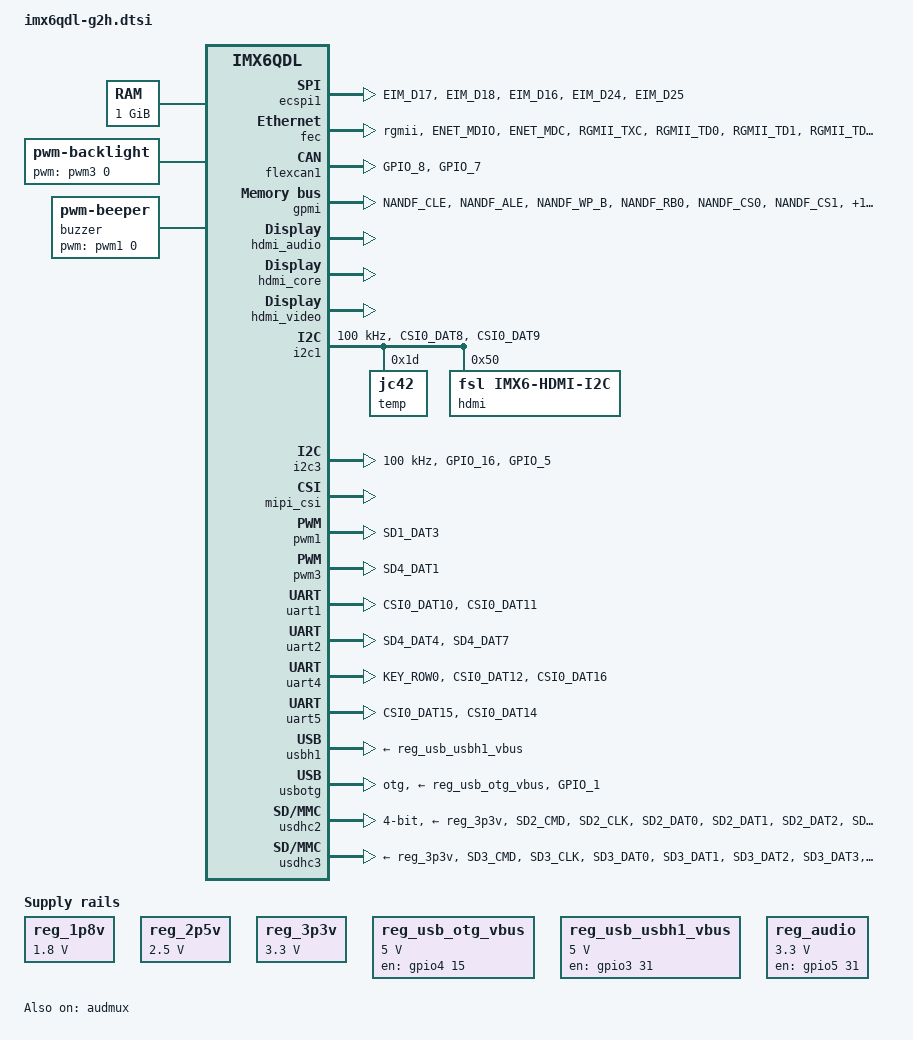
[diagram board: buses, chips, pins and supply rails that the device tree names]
/*
 * Copyright 2014 John Weber, Avnet Electronics Marketing
 * Copyright 2013 Boundary Devices
 * Copyright 2012 Freescale Semiconductor, Inc.
 * Copyright 2011 Linaro Ltd.
 *
 * The code contained herein is licensed under the GNU General Public
 * License. You may obtain a copy of the GNU General Public License
 * Version 2 or later at the following locations:
 *
 * http://www.opensource.org/licenses/gpl-license.html
 * http://www.gnu.org/copyleft/gpl.html
 */

/ {
	aliases {
		mxcfb0 = &mxcfb1;
		mxcfb1 = &mxcfb2;
		mxcfb2 = &mxcfb3;
		mxcfb3 = &mxcfb4;
	};

	memory {
		reg = <0x10000000 0x40000000>;
	};

	regulators {
		compatible = "simple-bus";

		reg_1p8v: 1p8v {
			compatible = "regulator-fixed";
			regulator-name = "1P8V";
			regulator-min-microvolt = <1800000>;
			regulator-max-microvolt = <1800000>;
			regulator-always-on;
		};

		reg_2p5v: 2p5v {
			compatible = "regulator-fixed";
			regulator-name = "2P5V";
			regulator-min-microvolt = <2500000>;
			regulator-max-microvolt = <2500000>;
			regulator-always-on;
		};

		reg_3p3v: 3p3v {
			compatible = "regulator-fixed";
			regulator-name = "3P3V";
			regulator-min-microvolt = <3300000>;
			regulator-max-microvolt = <3300000>;
			regulator-always-on;
		};

		reg_usb_otg_vbus: usb_otg_vbus {
			compatible = "regulator-fixed";
			regulator-name = "usb_otg_vbus";
			regulator-min-microvolt = <5000000>;
			regulator-max-microvolt = <5000000>;
			gpio = <&gpio4 15 0>;
			enable-active-high;
		};

		reg_usb_usbh1_vbus: usb_usbh1_vbus {
			compatible = "regulator-fixed";
			regulator-name = "usb_otg_vbus";
			regulator-min-microvolt = <5000000>;
			regulator-max-microvolt = <5000000>;
			gpio = <&gpio3 31 0>;
			enable-active-high;
		};

		reg_audio: audio {
			compatible = "regulator-fixed";
			regulator-name = "usb_otg_vbus";
			regulator-min-microvolt = <3300000>;
			regulator-max-microvolt = <3300000>;
			gpio = <&gpio5 31 0>;
			enable-active-high;
		};
	};

	sound {
		compatible = "fsl,imx6-g2h-sgtl5000",
                             "fsl,imx-audio-sgtl5000";
		model = "imx6-g2h-sgtl5000";
		cpu-dai = <&ssi1>;
		audio-codec = <&codec>;
		audio-routing =
			"MIC_IN", "Mic Jack",
			"Mic Jack", "Mic Bias",
			"Headphone Jack", "HP_OUT";
		mux-int-port = <1>;
		mux-ext-port = <3>;
		audio-stdby-gpio = <&gpio5 31 0>;
		headphone-det-gpio = <&gpio4 11 0>;
		status = "disabled";
	};

    sound-spdif {
		compatible = "fsl,imx-audio-spdif";
		model = "imx-spdif";
		spdif-controller = <&spdif>;
		spdif-out;
		status = "disabled";
    };

	sound-hdmi {
		compatible = "fsl,imx6q-audio-hdmi",
			     "fsl,imx-audio-hdmi";
		model = "imx-audio-hdmi";
		hdmi-controller = <&hdmi_audio>;
		status = "okay";
	};

	mxcfb1: fb@0 {
		compatible = "fsl,mxc_sdc_fb";
		disp_dev = "lcd";
		interface_pix_fmt = "RGB666";
		mode_str ="WVGA-GH2";
		default_bpp = <32>;
		int_clk = <0>;
		late_init = <0>;
		status = "disabled";
	};

	mxcfb2: fb@1 {
		compatible = "fsl,mxc_sdc_fb";
		disp_dev = "hdmi";
		interface_pix_fmt = "RGB24";
		mode_str ="1920x1080M@60";
		default_bpp = <32>;
		int_clk = <0>;
		late_init = <0>;
		status = "disabled";
	};

	mxcfb3: fb@2 {
		compatible = "fsl,mxc_sdc_fb";
        disp_dev = "ldb";
        interface_pix_fmt = "RGB24";
        default_bpp = <32>;
        int_clk = <0>;
        late_init = <0>;
        status = "disabled";
    };

	mxcfb4: fb@3 {
		compatible = "fsl,mxc_sdc_fb";
		disp_dev = "ldb";
		interface_pix_fmt = "RGB666";
		mode_str ="LDB-XGA";
		default_bpp = <16>;
		int_clk = <0>;
		late_init = <0>;
		status = "disabled";
	};

	lcd@0 {
		compatible = "fsl,lcd";
		ipu_id = <0>;
		disp_id = <0>;
		default_ifmt = "RGB565";
		pinctrl-names = "default";
		pinctrl-0 = <&pinctrl_ipu1>;
		status = "disabled";
		lcd-enable-gpio = <&gpio2 11 0>;
		backlight-enable-gpio = <&gpio2 8 0>;
	};

	backlight {
		compatible = "pwm-backlight";
		pwms = <&pwm3 0 5000000>;
		brightness-levels = <0 4 8 16 32 64 128 255>;
		default-brightness-level = <7>;
	};

	buzzer {
		compatible = "pwm-beeper";
		pwms = <&pwm1 0 5000000>;
	};

	dipswitch: dipswitch@0 {
		compatible = "reach,dipswitch";
		pinctrl-names = "default";
		pinctrl-0 = <&pinctrl_dip_g2h>;
		dip-pin-1 = <&gpio1 20 1>;
		dip-pin-2 = <&gpio1 17 1>;
		dip-pin-3 = <&gpio1 19 1>;
		dip-pin-4 = <&gpio1 21 1>;
		status = "disabled";
	};

	v4l2_cap_0 {
		compatible = "fsl,imx6q-v4l2-capture";
		ipu_id = <0>;
		csi_id = <0>;
		mclk_source = <0>;
		status = "okay";
	};

	v4l2_out {
		compatible = "fsl,mxc_v4l2_output";
		status = "okay";
	};

};

&audmux {
	pinctrl-names = "default";
	pinctrl-0 = <&pinctrl_audmux>;
	status = "okay";
};

&ecspi1 {
	fsl,spi-num-chipselects = <4>;
	cs-gpios = <0>, <0>, <&gpio3 24 0>, <&gpio3 25 0>;
	pinctrl-names = "default";
	pinctrl-0 = <&pinctrl_ecspi1>;
	status = "okay";

	spiflash: nor@2 {
		#address-cells = <1>;
		#size-cells = <1>;
		compatible = "n25q128a13";
		spi-max-frequency = <10000000>;
		reg = <2>;
        status = "disabled";

		mtd0@00000000 {
			label = "boot";
			reg = <0x00000000 0x00100000>;
		};

		mtd1@00100000 {
			label = "bootenv";
			reg = <0x00100000 0x00080000>;
		};
	};

	tsc2046: touch@3 {
		compatible = "ti,tsc2046";
		reg = <3>;
		spi-max-frequency = <1000000>;
		interrupt-parent = <&gpio7>;
		interrupts = <13 0>;
		pendown-gpio = <&gpio7 13 0>;
		vcc-supply = <&reg_3p3v>;
        /* see individual board dts for tuning parameters */
		status = "disabled";
	};
};

&fec {
	pinctrl-names = "default";
	pinctrl-0 = <&pinctrl_enet>;
	phy-mode = "rgmii";
	status = "okay";
};

&flexcan1 {
	pinctrl-names = "default";
	pinctrl-0 = <&pinctrl_flexcan>;
	status = "okay";
};

&gpmi {
	pinctrl-names = "default";
	pinctrl-0 = <&pinctrl_gpmi_nand>;
	status = "ok";

	partition@0 {
		label = "dtb";
		reg = <0x0000000 0x0080000>;
	};
	partition@1 {
		label = "kernel";
		reg = <0x0080000 0x0A00000>;
	};
	partition@2 {
		label = "rootfs";
		reg = < 0x0A80000 0x1F400000>;
	};
};

&hdmi_audio {
	status = "okay";
};

&hdmi_core {
	ipu_id = <0>;
	disp_id = <1>;
	status = "okay";
};

&hdmi_video {
	fsl,phy_reg_vlev = <0x0294>;
	fsl,phy_reg_cksymtx = <0x800d>;
	status = "okay";
};

&i2c1 {
	clock-frequency = <100000>;
	pinctrl-names = "default";
	pinctrl-0 = <&pinctrl_i2c1>;
	status = "okay";

	temp@1d {
		compatible = "jc42";
		reg = <0x1D>;
		status = "okay";
	};

	evervision: touch@38 {
		compatible = "evervision";
		reg = <0x38>;
		interrupt-parent = <&gpio4>;
		interrupts = <5 0>;
		status = "disabled";
	};

	codec: sgtl5000@0a {
		compatible = "fsl,sgtl5000";
		reg = <0x0a>;
		status = "disabled";
		clocks = <&clks 201>;
		VDDA-supply = <&reg_2p5v>;
		VDDIO-supply = <&reg_audio>;
	};

	hdmi: edid@50 {
		compatible = "fsl,imx6-hdmi-i2c";
		reg = <0x50>;
	};
};

&i2c3 {
	clock-frequency = <100000>;
	pinctrl-names = "default";
	pinctrl-0 = <&pinctrl_i2c3>;
	status = "okay";
};

&iomuxc {

	pinctrl-names = "default";
	pinctrl-0 = <&pinctrl_hog_1>;

	audmux {
		pinctrl_audmux: audmux {
			fsl,pins = <
				MX6QDL_PAD_CSI0_DAT7__AUD3_RXD  0x130b0
				MX6QDL_PAD_CSI0_DAT4__AUD3_TXC  0x130b0
				MX6QDL_PAD_CSI0_DAT5__AUD3_TXD  0x110b0
				MX6QDL_PAD_CSI0_DAT6__AUD3_TXFS 0x130b0
			>;
		};
	};

	ecspi1 {
		pinctrl_ecspi1: ecspi1grp {
			fsl,pins = <
				MX6QDL_PAD_EIM_D17__ECSPI1_MISO 0x100b1
				MX6QDL_PAD_EIM_D18__ECSPI1_MOSI 0x100b1
				MX6QDL_PAD_EIM_D16__ECSPI1_SCLK 0x100b1
				MX6QDL_PAD_EIM_D24__GPIO3_IO24 0x80000000
				MX6QDL_PAD_EIM_D25__GPIO3_IO25 0x80000000
			>;
		};
	};

	enet {
		pinctrl_enet: enetgrp {
			fsl,pins = <
				MX6QDL_PAD_ENET_MDIO__ENET_MDIO       0x1b0b0
				MX6QDL_PAD_ENET_MDC__ENET_MDC         0x1b0b0
				MX6QDL_PAD_RGMII_TXC__RGMII_TXC       0x1b0b0
				MX6QDL_PAD_RGMII_TD0__RGMII_TD0       0x1b0b0
				MX6QDL_PAD_RGMII_TD1__RGMII_TD1       0x1b0b0
				MX6QDL_PAD_RGMII_TD2__RGMII_TD2       0x1b0b0
				MX6QDL_PAD_RGMII_TD3__RGMII_TD3       0x1b0b0
				MX6QDL_PAD_RGMII_TX_CTL__RGMII_TX_CTL 0x1b0b0
				MX6QDL_PAD_ENET_REF_CLK__ENET_TX_CLK  0x1b0b0
				MX6QDL_PAD_RGMII_RXC__RGMII_RXC       0x1b0b0
				MX6QDL_PAD_RGMII_RD0__RGMII_RD0       0x1b0b0
				MX6QDL_PAD_RGMII_RD1__RGMII_RD1       0x1b0b0
				MX6QDL_PAD_RGMII_RD2__RGMII_RD2       0x1b0b0
				MX6QDL_PAD_RGMII_RD3__RGMII_RD3       0x1b0b0
				MX6QDL_PAD_RGMII_RX_CTL__RGMII_RX_CTL 0x1b0b0
				MX6QDL_PAD_ENET_TX_EN__ENET_TX_EN     0x1b0b0
			>;
		};
	};

	flexcan1 {
		pinctrl_flexcan: flexcangrp {
			fsl,pins = <
				MX6QDL_PAD_GPIO_8__FLEXCAN1_RX 0x80000000
				MX6QDL_PAD_GPIO_7__FLEXCAN1_TX 0x80000000
			>;
		};
	};

	gpmi-nand {
		pinctrl_gpmi_nand: gpmi-nand {
			fsl,pins = <
				MX6QDL_PAD_NANDF_CLE__NAND_CLE     0xb0b1
				MX6QDL_PAD_NANDF_ALE__NAND_ALE     0xb0b1
				MX6QDL_PAD_NANDF_WP_B__NAND_WP_B   0xb0b1
				MX6QDL_PAD_NANDF_RB0__NAND_READY_B 0xb000
				MX6QDL_PAD_NANDF_CS0__NAND_CE0_B   0xb0b1
				MX6QDL_PAD_NANDF_CS1__NAND_CE1_B   0xb0b1
				MX6QDL_PAD_SD4_CMD__NAND_RE_B      0xb0b1
				MX6QDL_PAD_SD4_CLK__NAND_WE_B      0xb0b1
				MX6QDL_PAD_NANDF_D0__NAND_DATA00   0xb0b1
				MX6QDL_PAD_NANDF_D1__NAND_DATA01   0xb0b1
				MX6QDL_PAD_NANDF_D2__NAND_DATA02   0xb0b1
				MX6QDL_PAD_NANDF_D3__NAND_DATA03   0xb0b1
				MX6QDL_PAD_NANDF_D4__NAND_DATA04   0xb0b1
				MX6QDL_PAD_NANDF_D5__NAND_DATA05   0xb0b1
				MX6QDL_PAD_NANDF_D6__NAND_DATA06   0xb0b1
				MX6QDL_PAD_NANDF_D7__NAND_DATA07   0xb0b1
			>;
		};
	};

	i2c1 {
		pinctrl_i2c1: i2c1grp {
			fsl,pins = <
				MX6QDL_PAD_CSI0_DAT8__I2C1_SDA 0x4001b8b1
				MX6QDL_PAD_CSI0_DAT9__I2C1_SCL 0x4001b8b1
			>;
		};
	};

	i2c3 {
		pinctrl_i2c3: i2c3grp {
			fsl,pins = <
				MX6QDL_PAD_GPIO_16__I2C3_SDA  0x4001b8b1
				MX6QDL_PAD_GPIO_5__I2C3_SCL   0x4001b8b1
			>;
		};
	};

	ipu1 {
		pinctrl_ipu1: ipu1grp {
			fsl,pins = <
				MX6QDL_PAD_DI0_DISP_CLK__IPU1_DI0_DISP_CLK 0x10
				MX6QDL_PAD_DI0_PIN15__IPU1_DI0_PIN15       0x10
				MX6QDL_PAD_DI0_PIN2__IPU1_DI0_PIN02        0x10
				MX6QDL_PAD_DI0_PIN3__IPU1_DI0_PIN03        0x10
				MX6QDL_PAD_DISP0_DAT0__IPU1_DISP0_DATA00   0x10
				MX6QDL_PAD_DISP0_DAT1__IPU1_DISP0_DATA01   0x10
				MX6QDL_PAD_DISP0_DAT2__IPU1_DISP0_DATA02   0x10
				MX6QDL_PAD_DISP0_DAT3__IPU1_DISP0_DATA03   0x10
				MX6QDL_PAD_DISP0_DAT4__IPU1_DISP0_DATA04   0x10
				MX6QDL_PAD_DISP0_DAT5__IPU1_DISP0_DATA05   0x10
				MX6QDL_PAD_DISP0_DAT6__IPU1_DISP0_DATA06   0x10
				MX6QDL_PAD_DISP0_DAT7__IPU1_DISP0_DATA07   0x10
				MX6QDL_PAD_DISP0_DAT8__IPU1_DISP0_DATA08   0x10
				MX6QDL_PAD_DISP0_DAT9__IPU1_DISP0_DATA09   0x10
				MX6QDL_PAD_DISP0_DAT10__IPU1_DISP0_DATA10  0x10
				MX6QDL_PAD_DISP0_DAT11__IPU1_DISP0_DATA11  0x10
				MX6QDL_PAD_DISP0_DAT12__IPU1_DISP0_DATA12  0x10
				MX6QDL_PAD_DISP0_DAT13__IPU1_DISP0_DATA13  0x10
				MX6QDL_PAD_DISP0_DAT14__IPU1_DISP0_DATA14  0x10
				MX6QDL_PAD_DISP0_DAT15__IPU1_DISP0_DATA15  0x10
				MX6QDL_PAD_DISP0_DAT16__IPU1_DISP0_DATA16  0x10
				MX6QDL_PAD_DISP0_DAT17__IPU1_DISP0_DATA17  0x10
			>;
	    };
	};

	pwm1 {
		pinctrl_pwm1: pwm1grp {
			fsl,pins = <
				MX6QDL_PAD_SD1_DAT3__PWM1_OUT 0x1b0b1
			>;
		};
	};

	pwm3 {
		pinctrl_pwm3: pwm3grp {
			fsl,pins = <
				MX6QDL_PAD_SD4_DAT1__PWM3_OUT 0x1b0b1
			>;
		};
	};

	uart1 {
		pinctrl_uart1_1: uart1grp-1 {
			fsl,pins = <
				MX6QDL_PAD_CSI0_DAT10__UART1_TX_DATA 0x1b0b1
				MX6QDL_PAD_CSI0_DAT11__UART1_RX_DATA 0x1b0b1
			>;
		};
	};

	uart2 {
		pinctrl_uart2_1: uart2grp-1 {
			fsl,pins = <
				MX6QDL_PAD_EIM_D26__UART2_TX_DATA 0x1b0b1
				MX6QDL_PAD_EIM_D27__UART2_RX_DATA 0x1b0b1
			>;
		};

		pinctrl_uart2_2: uart2grp-2 { /* DTE mode */
			fsl,pins = <
				MX6QDL_PAD_EIM_D26__UART2_RX_DATA   0x1b0b1
				MX6QDL_PAD_EIM_D27__UART2_TX_DATA   0x1b0b1
				MX6QDL_PAD_EIM_D28__UART2_DTE_CTS_B 0x1b0b1
				MX6QDL_PAD_EIM_D29__UART2_DTE_RTS_B 0x1b0b1
			>;
		};

		pinctrl_uart2_3: uart2grp-3 {
			fsl,pins = <
				MX6QDL_PAD_SD4_DAT4__UART2_RX_DATA   0x1b0b1
				MX6QDL_PAD_SD4_DAT7__UART2_TX_DATA   0x1b0b1
			>;
		};

	};

	uart4 {
		pinctrl_uart4: uart4grp {
			fsl,pins = <
				MX6QDL_PAD_KEY_ROW0__UART4_RX_DATA   0x1b0b1
				MX6QDL_PAD_CSI0_DAT12__UART4_TX_DATA 0x1b0b1
				MX6QDL_PAD_CSI0_DAT16__UART4_RTS_B   0x1b0b1
			>;
		};
	};

	uart5 {
		pinctrl_uart5_1: uart5grp-1 {
			fsl,pins = <
				MX6QDL_PAD_CSI0_DAT15__UART5_RX_DATA 0x1b0b1
				MX6QDL_PAD_CSI0_DAT14__UART5_TX_DATA 0x1b0b1
			>;
		};

		pinctrl_uart5dte_1: uart5dtegrp-1 {
			fsl,pins = <
				MX6QDL_PAD_KEY_ROW1__UART5_TX_DATA 0x1b0b1
				MX6QDL_PAD_KEY_COL1__UART5_RX_DATA 0x1b0b1
				MX6QDL_PAD_KEY_ROW4__UART5_RTS_B   0x1b0b1
				MX6QDL_PAD_KEY_COL4__UART5_CTS_B   0x1b0b1
			>;
		};
	};

	usbotg {
		pinctrl_usbotg_1: usbotggrp-1 {
			fsl,pins = <
				MX6QDL_PAD_GPIO_1__USB_OTG_ID 0x17059
			>;
		};

		pinctrl_usbotg_2: usbotggrp-2 {
			fsl,pins = <
				MX6QDL_PAD_ENET_RX_ER__USB_OTG_ID 0x17059
			>;
		};
	};

	usdhc2 {
		pinctrl_usdhc2_1: usdhc2grp-1 {
			fsl,pins = <
				MX6QDL_PAD_SD2_CMD__SD2_CMD    0x17059
				MX6QDL_PAD_SD2_CLK__SD2_CLK    0x10059
				MX6QDL_PAD_SD2_DAT0__SD2_DATA0 0x17059
				MX6QDL_PAD_SD2_DAT1__SD2_DATA1 0x17059
				MX6QDL_PAD_SD2_DAT2__SD2_DATA2 0x17059
				MX6QDL_PAD_SD2_DAT3__SD2_DATA3 0x17059
				MX6QDL_PAD_NANDF_D4__SD2_DATA4 0x17059
				MX6QDL_PAD_NANDF_D5__SD2_DATA5 0x17059
				MX6QDL_PAD_NANDF_D6__SD2_DATA6 0x17059
				MX6QDL_PAD_NANDF_D7__SD2_DATA7 0x17059
			>;
		};

		pinctrl_usdhc2_2: usdhc2grp-2 {
			fsl,pins = <
				MX6QDL_PAD_SD2_CMD__SD2_CMD    0x17059
				MX6QDL_PAD_SD2_CLK__SD2_CLK    0x10059
				MX6QDL_PAD_SD2_DAT0__SD2_DATA0 0x17059
				MX6QDL_PAD_SD2_DAT1__SD2_DATA1 0x17059
				MX6QDL_PAD_SD2_DAT2__SD2_DATA2 0x17059
				MX6QDL_PAD_SD2_DAT3__SD2_DATA3 0x17059
			>;
		};
	};

	usdhc3 {
		pinctrl_usdhc3_1: usdhc3grp-1 {
			fsl,pins = <
				MX6QDL_PAD_SD3_CMD__SD3_CMD    0x17059
				MX6QDL_PAD_SD3_CLK__SD3_CLK    0x10059
				MX6QDL_PAD_SD3_DAT0__SD3_DATA0 0x17059
				MX6QDL_PAD_SD3_DAT1__SD3_DATA1 0x17059
				MX6QDL_PAD_SD3_DAT2__SD3_DATA2 0x17059
				MX6QDL_PAD_SD3_DAT3__SD3_DATA3 0x17059
				MX6QDL_PAD_SD3_DAT4__SD3_DATA4 0x17059
				MX6QDL_PAD_SD3_DAT5__SD3_DATA5 0x17059
				MX6QDL_PAD_SD3_DAT6__SD3_DATA6 0x17059
				MX6QDL_PAD_SD3_DAT7__SD3_DATA7 0x17059
			>;
		};

		pinctrl_usdhc3_1_100mhz: usdhc3grp-1-100mhz { /* 100Mhz */
			fsl,pins = <
				MX6QDL_PAD_SD3_CMD__SD3_CMD 0x170B9
				MX6QDL_PAD_SD3_CLK__SD3_CLK 0x100B9
				MX6QDL_PAD_SD3_DAT0__SD3_DATA0 0x170B9
				MX6QDL_PAD_SD3_DAT1__SD3_DATA1 0x170B9
				MX6QDL_PAD_SD3_DAT2__SD3_DATA2 0x170B9
				MX6QDL_PAD_SD3_DAT3__SD3_DATA3 0x170B9
				MX6QDL_PAD_SD3_DAT4__SD3_DATA4 0x170B9
				MX6QDL_PAD_SD3_DAT5__SD3_DATA5 0x170B9
				MX6QDL_PAD_SD3_DAT6__SD3_DATA6 0x170B9
				MX6QDL_PAD_SD3_DAT7__SD3_DATA7 0x170B9
			>;
		};

		pinctrl_usdhc3_1_200mhz: usdhc3grp-1-200mhz { /* 200Mhz */
			fsl,pins = <
				MX6QDL_PAD_SD3_CMD__SD3_CMD 0x170F9
				MX6QDL_PAD_SD3_CLK__SD3_CLK 0x100F9
				MX6QDL_PAD_SD3_DAT0__SD3_DATA0 0x170F9
				MX6QDL_PAD_SD3_DAT1__SD3_DATA1 0x170F9
				MX6QDL_PAD_SD3_DAT2__SD3_DATA2 0x170F9
				MX6QDL_PAD_SD3_DAT3__SD3_DATA3 0x170F9
				MX6QDL_PAD_SD3_DAT4__SD3_DATA4 0x170F9
				MX6QDL_PAD_SD3_DAT5__SD3_DATA5 0x170F9
				MX6QDL_PAD_SD3_DAT6__SD3_DATA6 0x170F9
				MX6QDL_PAD_SD3_DAT7__SD3_DATA7 0x170F9
			>;
		};

		pinctrl_usdhc3_2: usdhc3grp-2 {
			fsl,pins = <
				MX6QDL_PAD_SD3_CMD__SD3_CMD    0x17059
				MX6QDL_PAD_SD3_CLK__SD3_CLK    0x10059
				MX6QDL_PAD_SD3_DAT0__SD3_DATA0 0x17059
				MX6QDL_PAD_SD3_DAT1__SD3_DATA1 0x17059
				MX6QDL_PAD_SD3_DAT2__SD3_DATA2 0x17059
				MX6QDL_PAD_SD3_DAT3__SD3_DATA3 0x17059
			>;
		};
	};

	imx6qdl-g2h {
		pinctrl_hog_1: hoggrp-1 {
			fsl,pins = <
				MX6QDL_PAD_GPIO_0__CCM_CLKO1		0x000b0
				MX6QDL_PAD_EIM_D22__USB_OTG_PWR		0x80000000	/* USB Power Enable */
				MX6QDL_PAD_GPIO_2__GPIO1_IO02       0x80000000	/* uSDHC3 CD */
				MX6QDL_PAD_GPIO_4__GPIO1_IO04       0x80000000	/* uSDHC2 CD */
			>;
		};

	pinctrl_spdif: spdifgrp {
			fsl,pins = <
				MX6QDL_PAD_ENET_RXD0__SPDIF_OUT                 0x1b0b0
			>;
	    };

	pinctrl_dip_g2h: dipgrp {
			fsl,pins = <
				MX6QDL_PAD_SD1_CLK__GPIO1_IO20    0x80000000    /* SW_OPT1 */
				MX6QDL_PAD_SD1_DAT1__GPIO1_IO17   0x80000000    /* SW_OPT2 */
				MX6QDL_PAD_SD1_DAT2__GPIO1_IO19   0x80000000    /* SW_OPT3 */
				MX6QDL_PAD_SD1_DAT3__GPIO1_IO21   0x80000000    /* SW_OPT4 */
			>;
		};
	};

	gpio {
		pinctrl_gpio: gpiogrp {
			fsl,pins = <
				MX6QDL_PAD_GPIO_19__GPIO4_IO05    0x80000000	/* PCAP Int */
				MX6QDL_PAD_SD3_RST__GPIO7_IO08    0x80000000	/* PCAP Reset */
				MX6QDL_PAD_EIM_D31__GPIO3_IO31	  0x80000000	/* USB Power Enable */
				MX6QDL_PAD_KEY_ROW4__GPIO4_IO15   0x80000000	/* OTG Power Enable */
				MX6QDL_PAD_GPIO_18__GPIO7_IO13    0x06000		/* PEN IRQ TSC2056 */
				MX6QDL_PAD_GPIO_19__GPIO4_IO05    0x80000000	/* PEN IRQ Evervision */
				MX6QDL_PAD_CSI0_DAT13__GPIO5_IO31 0x80000000    /* Audio Standby */
				MX6QDL_PAD_KEY_ROW2__GPIO4_IO11   0x80000000    /* Headphone detect */
				MX6QDL_PAD_SD4_DAT0__GPIO2_IO08   0x130B0		/* LVDS0_EN */
				MX6QDL_PAD_SD4_DAT3__GPIO2_IO11   0x130B0		/* LCD PWR_EN */
			>;
		};
	};
};

&ldb {
	lvds_en_gpio = <&gpio2 11 0>;
	disp_en_gpio = <&gpio2 8 0>;
	status = "disabled";
	lvds_channel0: lvds-channel@0 {
		crtc = "ipu1-di0";
		fsl,data-mapping = "jeida";
		fsl,data-width = <24>;
		status = "okay";
		primary;
		display-timings {
			vga_lvds: vga {
				clock-frequency = <25000000>;
				hactive = <640>;
				vactive = <480>;
				hback-porch = <48>;
				hfront-porch = <16>;
				vback-porch = <31>;
				vfront-porch = <11>;
				hsync-len = <96>;
				vsync-len = <6>;
			};
		};
	};
};

&mipi_csi {
	ipu_id = <0>;
	csi_id = <0>;
	v_channel = <0>;
	lanes = <2>;
	status = "okay";
};

&pwm1 {
	pinctrl-names = "default";
	pinctrl-0 = <&pinctrl_pwm1>;
	status = "okay";
};

&pwm3 {
	pinctrl-names = "default";
	pinctrl-0 = <&pinctrl_pwm3>;
	status = "okay";
};

&spdif {
        pinctrl-names = "default";
        pinctrl-0 = <&pinctrl_spdif>;
        status = "disabled";
};

&ssi1 {
	fsl,mode = "i2s-slave";
	status = "disabled";
};

&uart1 {
	pinctrl-names = "default";
	pinctrl-0 = <&pinctrl_uart1_1>;
	status = "okay";
};

&uart2 {
	pinctrl-names = "default";
	pinctrl-0 = <&pinctrl_uart2_3>;
	status = "okay";
};

&uart4 {
	pinctrl-names = "default";
	pinctrl-0 = <&pinctrl_uart4>;
	status = "okay";
};

&uart5 {
	pinctrl-names = "default";
	pinctrl-0 = <&pinctrl_uart5_1>;
	status = "okay";
};

&usbh1 {
	vbus-supply = <&reg_usb_usbh1_vbus>;
	status = "okay";
};

&usbotg {
	vbus-supply = <&reg_usb_otg_vbus>;
	pinctrl-names = "default";
	pinctrl-0 = <&pinctrl_usbotg_1>;
	disable-over-current;
	dr_mode = "otg";
	status = "okay";
};

&usdhc2 {  /* Broadcom Wifi/BT  */
	pinctrl-names = "default";
	pinctrl-0 = <&pinctrl_usdhc2_2>;
	bus-width = <4>;
	vmmc-supply = <&reg_3p3v>;
	cd-gpios = <&gpio1 4 0>;
	status = "okay";
};

&usdhc3 { /* Module microSD slot */
	pinctrl-names = "default";
	pinctrl-0 = <&pinctrl_usdhc3_2>;
	vmmc-supply = <&reg_3p3v>;
	cd-gpios = <&gpio1 2 0>;
	status = "okay";
};
